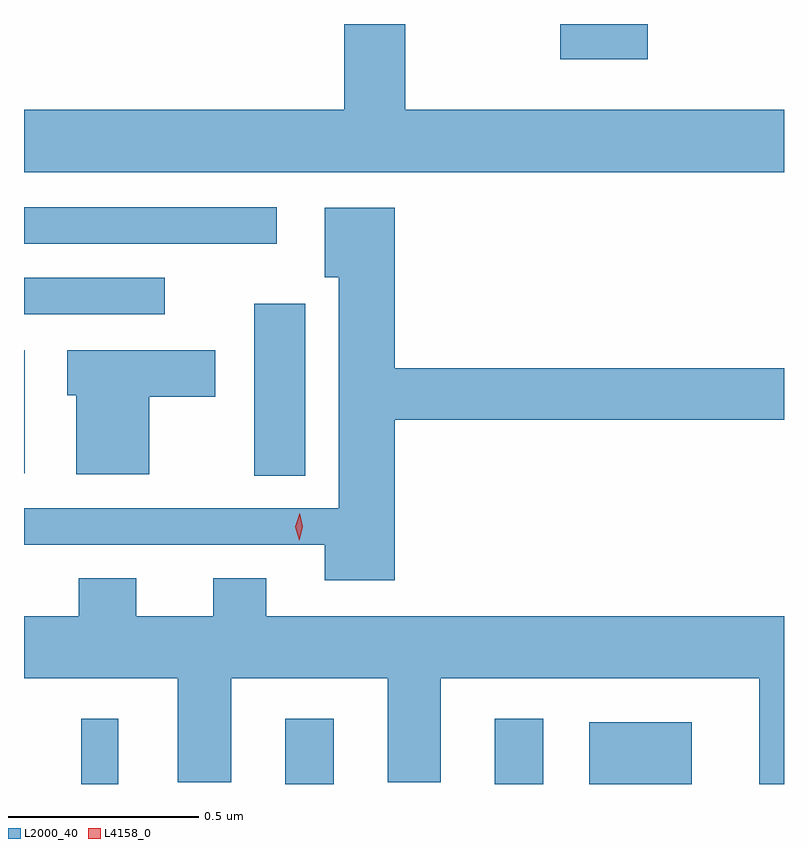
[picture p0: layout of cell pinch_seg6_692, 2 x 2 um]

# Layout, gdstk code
import gdstk
lib = gdstk.Library(unit=1e-6, precision=1e-09)
def R(c, l, rs):  # rectangles x0, y0, x1, y1
    for r in rs: c.add(gdstk.rectangle(r[:2], r[2:], *l))
def P(c, l, *ps):  # polygons
    for p in ps: c.add(gdstk.Polygon(p, *l))
L2000_40 = (2000, 40)
L4158_0 = (4158, 0)

pinch_seg6_692 = lib.new_cell('pinch_seg6_692')
R(pinch_seg6_692, L2000_40, [(471.476,916.422,471.574,916.594), (472.013,916.422,472.141,916.594), (472.565,916.422,472.693,916.594), (472.814,916.422,473.083,916.585), (471.932,917.233,472.066,917.686), (471.326,917.24,471.328,917.563), (471.326,917.658,471.697,917.754), (471.326,917.844,471.991,917.94), (472.737,918.329,472.967,918.422)])
P(pinch_seg6_692, L2000_40, [(473.326,918.196),(472.329,918.196),(472.329,918.422),(472.169,918.422),(472.169,918.196),(471.326,918.196),(471.326,918.032),(473.326,918.032)],
  [(472.301,917.38),(473.326,917.38),(473.326,917.516),(472.301,917.516),(472.301,917.938),(472.118,917.938),(472.118,917.756),(472.154,917.756),(472.154,917.148),(471.326,917.148),(471.326,917.051),(471.386,917.051),(471.386,917.052),(472.118,917.052),(472.118,916.958),(472.301,916.958)],
  [(471.655,917.441),(471.829,917.441),(471.829,917.563),(471.44,917.563),(471.44,917.445),(471.464,917.445),(471.464,917.237),(471.655,917.237)],
  [(473.326,916.864),(471.964,916.864),(471.964,916.963),(471.824,916.963),(471.824,916.864),(471.622,916.864),(471.622,916.963),(471.47,916.963),(471.47,916.864),(471.326,916.864),(471.326,916.7),(471.731,916.7),(471.731,916.427),(471.871,916.427),(471.871,916.7),(472.283,916.7),(472.283,916.427),(472.423,916.427),(472.423,916.7),(473.261,916.7),(473.261,916.422),(473.326,916.422)])
P(pinch_seg6_692, L4158_0, [(472.05,917.063),(472.05,917.063),(472.04,917.099),(472.051,917.135),(472.051,917.135),(472.051,917.135),(472.06,917.099),(472.05,917.063)])

lib.write_gds('pinch_seg6_692.gds')
